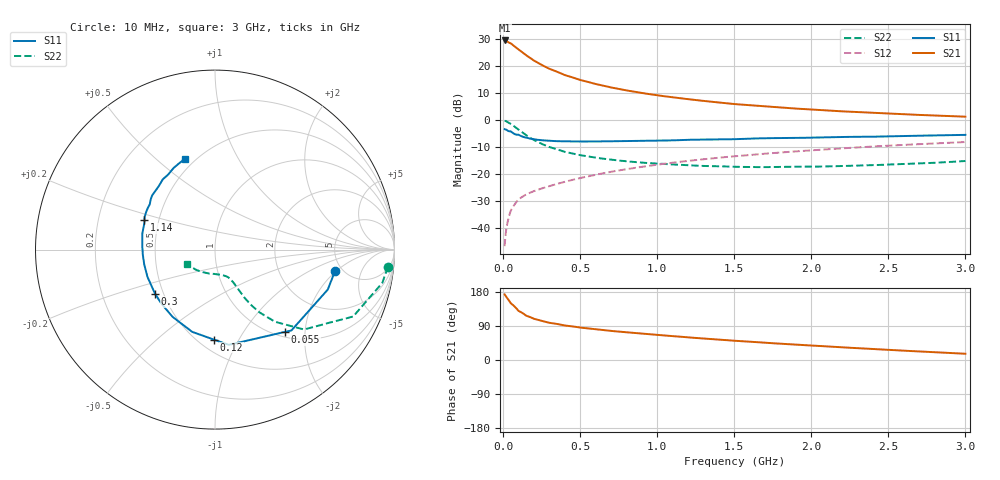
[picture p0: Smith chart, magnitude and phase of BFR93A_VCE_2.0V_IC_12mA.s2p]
! Infineon Technologies  Discrete & RF Semiconductors
! BFR93A
! VCE =  2.0 V,  IC =  12 mA
! Common Emitter S-Parameters:  Nov 2015
# GHz  S  MA  R  50
!  f  S11  S21  S12  S22
! GHz  MAG  ANG  MAG  ANG  MAG  ANG  MAG  ANG
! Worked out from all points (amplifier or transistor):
!   180 points, 10 MHz to 3 GHz, reference 50 ohm
!   highest |S21| = 29.4 dB at 10 MHz (marker M1)
!   |S21| within 3 dB of that: start of sweep to 93.24 MHz
!   unconditionally stable (mu >= 1): 506.3 MHz to end of sweep
!   at 160 MHz: K = 0.57, MSG = 25.4 dB, |S12| = -27.2 dB
!   at 1.22 GHz: K = 1.10, MAG = 9.4 dB, |S12| = -15.0 dB
!   at 3 GHz: K = 1.01, MAG = 4.1 dB, |S12| = -8.1 dB
!   S11 on the Smith chart (normalised r, x): 10 MHz: 4.38, -1.90; 55 MHz: 1.10, -1.58; 120 MHz: 0.59, -0.80; 300 MHz: 0.45, -0.27; 1.14 GHz: 0.42, +0.17; 3 GHz: 0.44, +0.62
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0.01  0.6796 -9.9  29.41 173.2  0.0047 84.9  0.9677 -5.7
0.02  0.6667 -19.5  28.87 166.9  0.0094 80.3  0.9508 -11.2
0.025  0.6492 -23.7  28.23 164.3  0.0113 77.1  0.931 -13.4
0.05  0.6198 -46.6  26.02 149.8  0.0213 70.0  0.8556 -25.8
0.055  0.6024 -49.5  25.32 148.2  0.0226 68.4  0.8343 -27.1
0.1  0.5362 -81.8  20.21 129.7  0.0344 59.7  0.6663 -41.9
0.12  0.5018 -90.6  18.28 125.4  0.0375 57.9  0.6073 -44.8
0.15  0.4756 -105.5  15.63 117.0  0.0423 55.8  0.5226 -50.3
0.2  0.4431 -122.2  12.53 108.8  0.0487 55.4  0.4279 -54.7
0.24  0.4265 -132.1  10.8 104.1  0.0533 55.7  0.3758 -56.6
0.3  0.4148 -143.6  8.835 98.2  0.0602 57.0  0.3176 -58.4
0.4  0.4059 -157.8  6.77 91.1  0.0723 59.2  0.2587 -59.7
0.52  0.4024 -169.7  5.321 84.8  0.0874 60.8  0.2201 -60.5
0.6  0.4031 -175.7  4.629 81.0  0.0975 61.4  0.2013 -61.2
0.7  0.4054 177.9  3.998 76.7  0.1108 62.0  0.1856 -62.5
0.84  0.4108 170.6  3.372 71.7  0.1289 61.9  0.1692 -65.1
1.02  0.4173 162.1  2.811 65.5  0.1526 61.1  0.156 -69.3
1.14  0.4253 157.5  2.545 61.8  0.1685 60.3  0.1493 -73.3
1.52  0.4448 144.6  1.953 50.4  0.2166 57.1  0.1369 -87.6
2.02  0.4738 131.0  1.549 37.8  0.2788 51.6  0.1381 -108.8
2.52  0.502 119.2  1.308 26.4  0.3385 45.3  0.1513 -130.4
3  0.5322 108.5  1.153 16.5  0.3927 38.9  0.1753 -152.3
